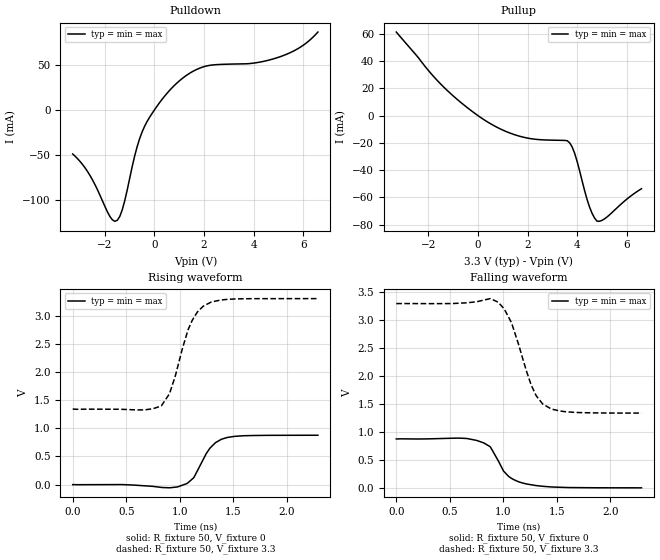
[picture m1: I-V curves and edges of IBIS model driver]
| IBIS file ex2_skewp_tr5ps.ibs created by PYS2IBIS3
| Missouri S&T EMC Lab
[IBIS Ver] 7.1
[File Name] ex2_skewp_tr5ps.ibs
[File Rev] 1.0
[Date] July 28, 2026
[Source] ex2 variant 'skewp' -- output PMOS at half width
[Notes] Parameter selection; sim_time=2.292e-09, tr=tf=5.000e-12.
[Disclaimer] Experimental characterization for pybis observability study.
[Component] MCM Driver 1
[Manufacturer] MegaFLOPS Inc.
[Package]
| variable   typ   min   max
R_pkg 0 NA NA
L_pkg 0H NA NA
C_pkg 0F NA NA
[Pin]  signal_name   model_name   R_pin   L_pin   C_pin
vdd   vdd   POWER
gnd   gnd   GND
| in in dummy
out   out   driver
| End of Component
| Models and submodels in the file (1): driver (Output)
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[Model] driver
Model_type Output
Polarity Non-Inverting
Enable Active-Low
Vinl  = 0.8V
Vinh  = 2V
C_comp 5.0000pF 5.0000pF 5.0000pF
[Temperature Range] 27.0000 27.0000 27.0000
[Voltage Range] 3.3000V 3.3000V 3.3000V
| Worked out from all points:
|   slope of the pulldown table from 0 to 0.495 V, typ, clamps not added: 27.4 ohm
|   slope of the pullup table from 0 to 0.495 V, typ, clamps not added: 85.1 ohm
|   rising waveform, R_fixture 50, V_fixture 0: 20-80 % time 165ps typ, 165ps min, 165ps max; typ from 0 V to 0.876 V
|   rising waveform, R_fixture 50, V_fixture 3.3: 20-80 % time 190ps typ, 190ps min, 190ps max; typ from 1.34 V to 3.3 V
|   falling waveform, R_fixture 50, V_fixture 0: 20-80 % time 183ps typ, 183ps min, 183ps max; typ from 0.876 V to 0 V
|   falling waveform, R_fixture 50, V_fixture 3.3: 20-80 % time 202ps typ, 202ps min, 202ps max; typ from 3.3 V to 1.34 V
[Pulldown]
| Voltage   I(typ)   I(min)   I(max)
-3.3V     -48.93mA   -48.93mA   -48.93mA
-2.6V     -72.86mA   -72.86mA   -72.86mA
-1.8V     -118.2mA   -118.2mA   -118.2mA
-1.5V     -122.5mA   -122.5mA   -122.5mA
-1.3V     -110.9mA   -110.9mA   -110.9mA
-800mV    -51.3mA    -51.3mA    -51.3mA
-500mV    -24.59mA   -24.59mA   -24.59mA
100mV     4.004mA    4.004mA    4.004mA
900mV     29.68mA    29.68mA    29.68mA
2.1V      48.76mA    48.76mA    48.76mA
5.1V      59.31mA    59.31mA    59.31mA
6.6V      86.45mA    86.45mA    86.45mA
[Pullup]
| Voltage   I(typ)   I(min)   I(max)
-3.3V     61.37mA    61.37mA    61.37mA
-1.4V     21.26mA    21.26mA    21.26mA
-600mV    8.306mA    8.306mA    8.306mA
300mV     -3.662mA   -3.662mA   -3.662mA
1.7V      -15.2mA    -15.2mA    -15.2mA
3.6V      -18.41mA   -18.41mA   -18.41mA
3.7V      -19.94mA   -19.94mA   -19.94mA
3.9V      -27.54mA   -27.54mA   -27.54mA
4.5V      -66.93mA   -66.93mA   -66.93mA
4.8V      -77.41mA   -77.41mA   -77.41mA
5.1V      -75.86mA   -75.86mA   -75.86mA
6.6V      -53.64mA   -53.64mA   -53.64mA
[Ramp]
| variable   typ   min   max
dV/dt_r 0.5258/0.1649n 0.5258/0.1649n 0.5258/0.1649n
dV/dt_f 1.1766/0.2021n 1.1766/0.2021n 1.1766/0.2021n
R_load = 50
[Rising Waveform]
R_fixture = 50
V_fixture = 0
|time   V(typ)   V(min)   V(max)
0s        3.917nV    3.917nV    3.917nV
445.1ps   2.521mV    2.521mV    2.521mV
977.5ps   -41.77mV   -41.77mV   -41.77mV
1.069ns   20.76mV    20.76mV    20.76mV
1.131ns   122.9mV    122.9mV    122.9mV
1.237ns   516.5mV    516.5mV    516.5mV
1.28ns    642.5mV    642.5mV    642.5mV
1.386ns   802.4mV    802.4mV    802.4mV
1.579ns   866.2mV    866.2mV    866.2mV
2.292ns   876.3mV    876.3mV    876.3mV
[Rising Waveform]
R_fixture = 50
V_fixture = 3.3
|time   V(typ)   V(min)   V(max)
0s        1.338V     1.338V     1.338V
667.7ps   1.326V     1.326V     1.326V
828.3ps   1.397V     1.397V     1.397V
904.1ps   1.611V     1.611V     1.611V
1.076ns   2.736V     2.736V     2.736V
1.115ns   2.907V     2.907V     2.907V
1.216ns   3.158V     3.158V     3.158V
1.292ns   3.236V     3.236V     3.236V
1.517ns   3.294V     3.294V     3.294V
2.292ns   3.3V       3.3V       3.3V
[Falling Waveform]
R_fixture = 50
V_fixture = 0
|time   V(typ)   V(min)   V(max)
0s        876.4mV    876.4mV    876.4mV
585.1ps   890.9mV    890.9mV    890.9mV
667.7ps   881mV      881mV      881mV
814.6ps   807.7mV    807.7mV    807.7mV
878.8ps   735.2mV    735.2mV    735.2mV
1ns       306.4mV    306.4mV    306.4mV
1.049ns   205.9mV    205.9mV    205.9mV
1.2ns     75.49mV    75.49mV    75.49mV
1.512ns   10.75mV    10.75mV    10.75mV
2.292ns   78.58uV    78.58uV    78.58uV
[Falling Waveform]
R_fixture = 50
V_fixture = 3.3
|time   V(typ)   V(min)   V(max)
0s        3.3V       3.3V       3.3V
580.5ps   3.304V     3.304V     3.304V
881.1ps   3.387V     3.387V     3.387V
1.007ns   3.207V     3.207V     3.207V
1.076ns   2.96V      2.96V      2.96V
1.26ns    1.849V     1.849V     1.849V
1.308ns   1.65V      1.65V      1.65V
1.37ns    1.5V       1.5V       1.5V
1.581ns   1.363V     1.363V     1.363V
2.292ns   1.339V     1.339V     1.339V
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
